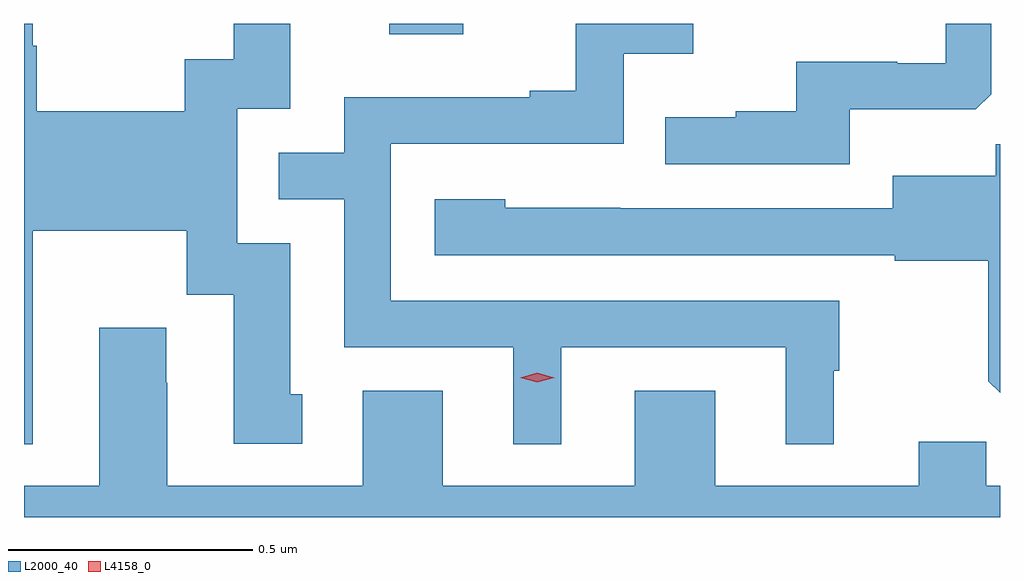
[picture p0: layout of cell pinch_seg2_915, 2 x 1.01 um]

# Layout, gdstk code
import gdstk
lib = gdstk.Library(unit=1e-6, precision=1e-09)
def R(c, l, rs):  # rectangles x0, y0, x1, y1
    for r in rs: c.add(gdstk.rectangle(r[:2], r[2:], *l))
def P(c, l, *ps):  # polygons
    for p in ps: c.add(gdstk.Polygon(p, *l))
L2000_40 = (2000, 40)
L4158_0 = (4158, 0)

pinch_seg2_915 = lib.new_cell('pinch_seg2_915')
R(pinch_seg2_915, L2000_40, [(422.489,584.79,422.641,584.811)])
P(pinch_seg2_915, L2000_40, [(422.842,584.148),(423.302,584.148),(423.302,583.949),(423.4,583.949),(423.4,584.1),(423.412,584.1),(423.412,584.244),(422.493,584.244),(422.493,584.565),(422.97,584.565),(422.97,584.75),(423.112,584.75),(423.112,584.811),(422.872,584.811),(422.872,584.674),(422.777,584.674),(422.777,584.661),(422.397,584.661),(422.397,584.547),(422.263,584.547),(422.263,584.451),(422.397,584.451),(422.397,584.148),(422.744,584.148),(422.744,583.949),(422.842,583.949)],
  [(423.433,584.636),(423.691,584.636),(423.723,584.667),(423.723,584.811),(423.63,584.811),(423.63,584.73),(423.53,584.73),(423.53,584.733),(423.323,584.733),(423.323,584.632),(423.199,584.632),(423.199,584.62),(423.055,584.62),(423.055,584.523),(423.433,584.523)],
  [(421.759,584.387),(422.075,584.387),(422.075,584.256),(422.171,584.256),(422.171,583.95),(422.311,583.95),(422.311,584.052),(422.287,584.052),(422.287,584.361),(422.178,584.361),(422.178,584.637),(422.287,584.637),(422.287,584.811),(422.171,584.811),(422.171,584.738),(422.07,584.738),(422.07,584.632),(421.767,584.632),(421.767,584.766),(421.759,584.766),(421.759,584.811),(421.741,584.811),(421.741,583.949),(421.759,583.949)],
  [(423.741,584.564),(423.732,584.564),(423.732,584.5),(423.521,584.5),(423.521,584.433),(422.963,584.433),(422.963,584.434),(422.727,584.434),(422.727,584.452),(422.583,584.452),(422.583,584.337),(423.525,584.337),(423.525,584.325),(423.717,584.325),(423.717,584.079),(423.741,584.055)],
  [(423.741,583.864),(423.713,583.864),(423.713,583.955),(423.575,583.955),(423.575,583.864),(423.157,583.864),(423.157,584.059),(422.993,584.059),(422.993,583.864),(422.599,583.864),(422.599,584.059),(422.435,584.059),(422.435,583.864),(422.035,583.864),(422.035,584.075),(422.032,584.075),(422.032,584.188),(421.895,584.188),(421.895,583.864),(421.741,583.864),(421.741,583.8),(423.741,583.8)])
P(pinch_seg2_915, L4158_0, [(422.793,584.076),(422.758,584.086),(422.757,584.086),(422.758,584.086),(422.793,584.096),(422.828,584.086),(422.829,584.086),(422.828,584.086)])

lib.write_gds('pinch_seg2_915.gds')
